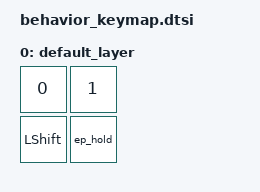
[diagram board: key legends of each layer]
#include <dt-bindings/zmk/keys.h>
#include <behaviors.dtsi>
#include <dt-bindings/zmk/kscan_mock.h>

/ {
    behaviors {
        ep_hold: behavior_gpio_hold {
            compatible = "zmk,behavior-gpio-hold";
            #binding-cells = <0>;
            control-gpios = <&gpio0 1 GPIO_ACTIVE_HIGH 
                        &gpio0 1 GPIO_ACTIVE_HIGH> ;
        };

    };

    keymap {
        compatible = "zmk,keymap";
        default_layer {
            bindings = <
                &kp N0 &kp N1
                &kp LSHFT &ep_hold
            >;
        };
    };
};
